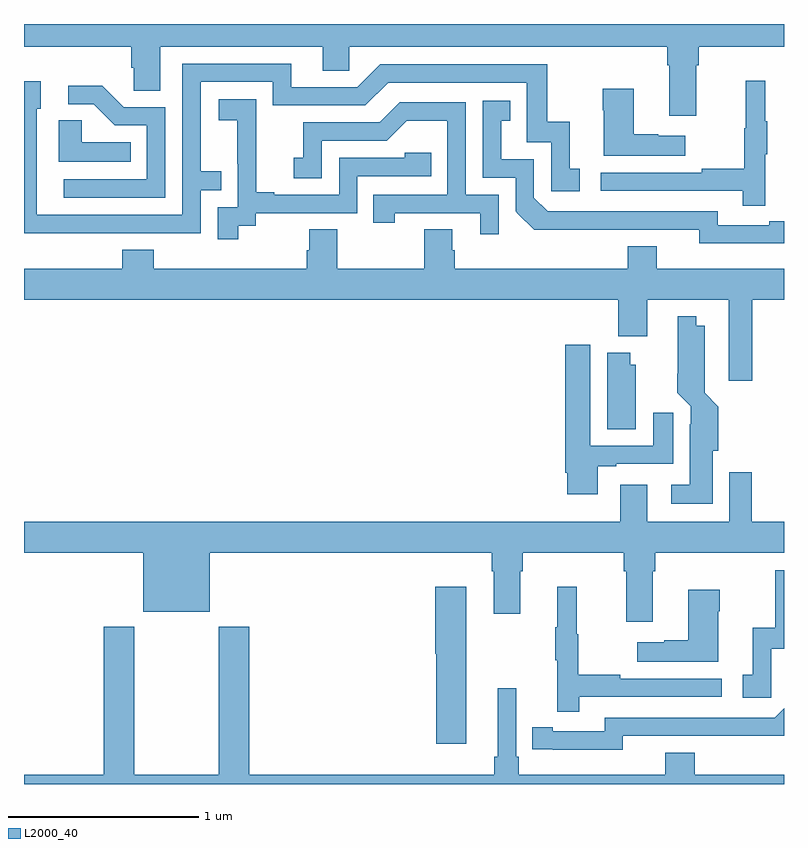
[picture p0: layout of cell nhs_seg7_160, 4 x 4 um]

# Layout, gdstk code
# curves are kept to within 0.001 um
import gdstk
lib = gdstk.Library(unit=1e-6, precision=1e-09)
def P(c, l, *ps):  # polygons
    for p in ps: c.add(gdstk.Polygon(p, *l))
L2000_40 = (2000, 40)

nhs_seg7_160 = lib.new_cell('nhs_seg7_160')
P(nhs_seg7_160, L2000_40, [(124.537,1069.784),(124.55,1069.784),(124.55,1069.88),(125,1069.88),(125,1070),(121,1070),(121,1069.88),(121.565,1069.88),(121.565,1069.771),(121.578,1069.771),(121.578,1069.648),(121.717,1069.648),(121.717,1069.88),(122.573,1069.88),(122.573,1069.753),(122.712,1069.753),(122.712,1069.88),(124.385,1069.88),(124.385,1069.784),(124.397,1069.784),(124.397,1069.518),(124.537,1069.518)],
  [(121.433,1068.9),(121.929,1068.9),(121.929,1069.125),(122.039,1069.125),(122.039,1069.226),(121.929,1069.226),(121.929,1069.695),(122.31,1069.695),(122.31,1069.572),(122.796,1069.572),(122.916,1069.692),(123.645,1069.692),(123.645,1069.377),(123.774,1069.377),(123.774,1069.119),(123.925,1069.119),(123.925,1069.239),(123.872,1069.239),(123.872,1069.486),(123.754,1069.486),(123.754,1069.788),(122.874,1069.788),(122.754,1069.668),(122.407,1069.668),(122.407,1069.791),(121.833,1069.791),(121.833,1068.996),(121.068,1068.996),(121.068,1069.554),(121.087,1069.554),(121.087,1069.699),(121,1069.699),(121,1068.899)],
  [(124.901,1069.315),(124.912,1069.315),(124.912,1069.489),(124.901,1069.489),(124.901,1069.702),(124.798,1069.702),(124.798,1069.452),(124.791,1069.452),(124.791,1069.238),(124.567,1069.238),(124.567,1069.218),(124.035,1069.218),(124.035,1069.122),(124.783,1069.122),(124.783,1069.044),(124.901,1069.044)],
  [(121.743,1069.563),(121.524,1069.563),(121.411,1069.676),(121.233,1069.676),(121.233,1069.578),(121.367,1069.578),(121.478,1069.467),(121.647,1069.467),(121.647,1069.182),(121.209,1069.182),(121.209,1069.086),(121.743,1069.086)],
  [(124.48,1069.411),(124.337,1069.411),(124.337,1069.421),(124.21,1069.421),(124.21,1069.66),(124.045,1069.66),(124.045,1069.547),(124.052,1069.547),(124.052,1069.307),(124.48,1069.307)],
  [(122.128,1068.937),(122.22,1068.937),(122.22,1069.005),(122.754,1069.005),(122.754,1069.2),(123.143,1069.2),(123.143,1069.323),(123.003,1069.323),(123.003,1069.296),(122.658,1069.296),(122.658,1069.101),(122.317,1069.101),(122.317,1069.114),(122.222,1069.114),(122.222,1069.397),(122.223,1069.397),(122.223,1069.603),(122.025,1069.603),(122.025,1069.493),(122.123,1069.493),(122.123,1069.265),(122.124,1069.265),(122.124,1069.035),(122.019,1069.035),(122.019,1068.867),(122.128,1068.867)],
  [(124.922,1068.846),(125,1068.846),(125,1068.962),(124.922,1068.962),(124.922,1068.942),(124.65,1068.942),(124.65,1069.014),(123.756,1069.014),(123.684,1069.086),(123.684,1069.287),(123.511,1069.287),(123.511,1069.491),(123.56,1069.491),(123.56,1069.597),(123.414,1069.597),(123.414,1069.191),(123.588,1069.191),(123.588,1069.014),(123.686,1068.917),(124.554,1068.918),(124.554,1068.845)],
  [(123.498,1069.101),(123.324,1069.101),(123.324,1069.587),(122.978,1069.587),(122.873,1069.482),(122.47,1069.482),(122.47,1069.297),(122.421,1069.297),(122.421,1069.188),(122.568,1069.188),(122.568,1069.386),(122.91,1069.386),(123.014,1069.49),(123.228,1069.49),(123.228,1069.101),(122.839,1069.101),(122.839,1068.954),(122.95,1068.954),(122.95,1069.005),(123.401,1069.005),(123.401,1068.894),(123.498,1068.894)],
  [(121.562,1069.378),(121.305,1069.378),(121.305,1069.493),(121.184,1069.493),(121.184,1069.274),(121.562,1069.274)],
  [(124.832,1068.548),(125,1068.548),(125,1068.712),(124.33,1068.712),(124.33,1068.829),(124.178,1068.829),(124.178,1068.712),(123.266,1068.712),(123.266,1068.81),(123.253,1068.81),(123.253,1068.92),(123.106,1068.92),(123.106,1068.712),(122.649,1068.712),(122.649,1068.92),(122.501,1068.92),(122.501,1068.81),(122.489,1068.81),(122.489,1068.712),(121.682,1068.712),(121.682,1068.811),(121.517,1068.811),(121.517,1068.712),(121,1068.712),(121,1068.548),(124.127,1068.548),(124.127,1068.356),(124.279,1068.356),(124.279,1068.548),(124.709,1068.548),(124.709,1068.123),(124.832,1068.123)],
  [(124.624,1067.754),(124.655,1067.754),(124.655,1067.986),(124.583,1068.058),(124.582,1068.412),(124.537,1068.412),(124.537,1068.463),(124.44,1068.463),(124.439,1068.058),(124.509,1067.988),(124.509,1067.894),(124.505,1067.894),(124.505,1067.575),(124.407,1067.575),(124.407,1067.474),(124.624,1067.474)],
  [(124.021,1067.673),(124.117,1067.673),(124.117,1067.685),(124.417,1067.685),(124.417,1067.953),(124.313,1067.953),(124.313,1067.781),(123.979,1067.781),(123.979,1068.313),(123.848,1068.313),(123.848,1067.638),(123.86,1067.638),(123.86,1067.526),(124.021,1067.526)],
  [(124.219,1068.207),(124.192,1068.207),(124.192,1068.271),(124.07,1068.271),(124.07,1067.866),(124.219,1067.866)],
  [(124.309,1067.12),(124.322,1067.12),(124.322,1067.216),(125,1067.216),(125,1067.38),(124.829,1067.38),(124.829,1067.641),(124.713,1067.641),(124.713,1067.38),(124.279,1067.38),(124.279,1067.575),(124.139,1067.575),(124.139,1067.38),(121,1067.38),(121,1067.216),(121.628,1067.216),(121.628,1066.907),(121.978,1066.907),(121.978,1067.216),(123.461,1067.216),(123.461,1067.12),(123.473,1067.12),(123.473,1066.896),(123.613,1066.896),(123.613,1067.12),(123.626,1067.12),(123.626,1067.216),(124.157,1067.216),(124.157,1067.12),(124.169,1067.12),(124.169,1066.854),(124.309,1066.854)],
  [(124.932,1066.713),(125,1066.713),(125,1067.124),(124.953,1067.124),(124.953,1066.822),(124.835,1066.822),(124.835,1066.575),(124.782,1066.575),(124.782,1066.455),(124.932,1066.455)],
  [(123.923,1066.458),(124.672,1066.458),(124.672,1066.554),(124.139,1066.554),(124.139,1066.574),(123.916,1066.574),(123.916,1066.788),(123.908,1066.788),(123.908,1067.038),(123.806,1067.038),(123.806,1066.825),(123.795,1066.825),(123.795,1066.651),(123.806,1066.651),(123.806,1066.38),(123.923,1066.38)],
  [(123.328,1067.038),(123.164,1067.038),(123.164,1066.686),(123.17,1066.686),(123.17,1066.212),(123.328,1066.212)],
  [(124.654,1066.91),(124.662,1066.91),(124.662,1067.023),(124.496,1067.023),(124.496,1066.757),(124.37,1066.757),(124.37,1066.747),(124.227,1066.747),(124.227,1066.643),(124.654,1066.643)],
  [(125,1066.048),(124.529,1066.048),(124.529,1066.165),(124.376,1066.165),(124.376,1066.048),(123.605,1066.048),(123.605,1066.144),(123.591,1066.144),(123.591,1066.504),(123.494,1066.504),(123.494,1066.144),(123.475,1066.144),(123.475,1066.048),(122.186,1066.048),(122.186,1066.828),(122.026,1066.828),(122.026,1066.048),(121.581,1066.048),(121.581,1066.828),(121.421,1066.828),(121.421,1066.048),(121,1066.048),(121,1066),(125,1066)],
  [(124.152,1066.254),(125,1066.253),(125,1066.4),(124.95,1066.35),(124.056,1066.35),(124.056,1066.278),(123.784,1066.278),(123.784,1066.298),(123.676,1066.298),(123.676,1066.182),(124.152,1066.181)])

lib.write_gds('nhs_seg7_160.gds')
